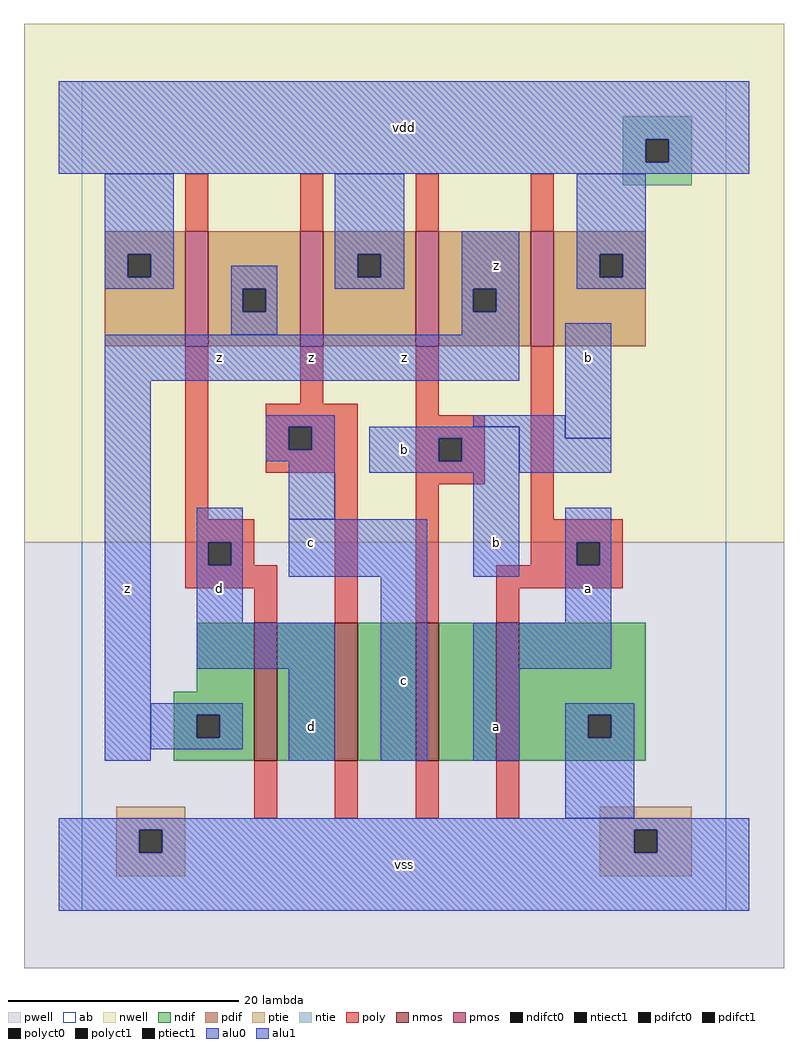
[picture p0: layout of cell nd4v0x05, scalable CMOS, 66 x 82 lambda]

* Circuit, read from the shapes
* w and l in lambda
.subckt nd4v0x05 a b c d vdd vss z
M1 n1 d z vss nfet w=12 l=2
M2 n2 c n1 vss nfet w=12 l=2
M3 n3 b n2 vss nfet w=12 l=2
M4 vss a n3 vss nfet w=12 l=2
M5 z d vdd vdd pfet w=10 l=2
M6 vdd c z vdd pfet w=10 l=2
M7 z b vdd vdd pfet w=10 l=2
M8 vdd a z vdd pfet w=10 l=2
.ends

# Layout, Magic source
magic
tech scmos
<< ab >>
rect 0 0 56 72
<< nwell >>
rect -5 32 61 77
<< pwell >>
rect -5 -5 61 32
<< poly >>
rect 9 59 11 64
rect 19 59 21 64
rect 29 59 31 64
rect 39 59 41 64
rect 9 34 11 49
rect 19 44 21 49
rect 16 42 24 44
rect 16 40 18 42
rect 20 40 24 42
rect 16 38 24 40
rect 9 32 15 34
rect 9 30 11 32
rect 13 30 15 32
rect 9 28 17 30
rect 15 25 17 28
rect 22 25 24 38
rect 29 43 31 49
rect 29 41 35 43
rect 29 39 31 41
rect 33 39 35 41
rect 29 37 35 39
rect 29 25 31 37
rect 39 34 41 49
rect 39 32 47 34
rect 39 30 43 32
rect 45 30 47 32
rect 36 28 47 30
rect 36 25 38 28
rect 15 8 17 13
rect 22 8 24 13
rect 29 8 31 13
rect 36 8 38 13
<< ndif >>
rect 10 19 15 25
rect 8 17 15 19
rect 8 15 10 17
rect 12 15 15 17
rect 8 13 15 15
rect 17 13 22 25
rect 24 13 29 25
rect 31 13 36 25
rect 38 17 49 25
rect 38 15 44 17
rect 46 15 49 17
rect 38 13 49 15
<< pdif >>
rect 2 57 9 59
rect 2 55 4 57
rect 6 55 9 57
rect 2 49 9 55
rect 11 54 19 59
rect 11 52 14 54
rect 16 52 19 54
rect 11 49 19 52
rect 21 57 29 59
rect 21 55 24 57
rect 26 55 29 57
rect 21 49 29 55
rect 31 54 39 59
rect 31 52 34 54
rect 36 52 39 54
rect 31 49 39 52
rect 41 57 49 59
rect 41 55 45 57
rect 47 55 49 57
rect 41 49 49 55
<< alu1 >>
rect -2 67 58 72
rect -2 65 49 67
rect 51 65 58 67
rect -2 64 58 65
rect 33 54 38 59
rect 33 52 34 54
rect 36 52 38 54
rect 33 50 38 52
rect 2 46 38 50
rect 2 13 6 46
rect 10 32 14 35
rect 10 30 11 32
rect 13 30 14 32
rect 10 25 14 30
rect 25 41 38 42
rect 42 41 46 51
rect 25 39 31 41
rect 33 39 38 41
rect 25 38 38 39
rect 18 29 30 34
rect 34 29 38 38
rect 42 32 46 35
rect 42 30 43 32
rect 45 30 46 32
rect 10 21 22 25
rect 18 13 22 21
rect 26 13 30 29
rect 42 25 46 30
rect 34 21 46 25
rect 34 13 38 21
rect -2 7 58 8
rect -2 5 5 7
rect 7 5 48 7
rect 50 5 58 7
rect -2 0 58 5
<< ptie >>
rect 3 7 9 9
rect 3 5 5 7
rect 7 5 9 7
rect 3 3 9 5
rect 45 7 53 9
rect 45 5 48 7
rect 50 5 53 7
rect 45 3 53 5
<< ntie >>
rect 47 67 53 69
rect 47 65 49 67
rect 51 65 53 67
rect 47 63 53 65
<< nmos >>
rect 15 13 17 25
rect 22 13 24 25
rect 29 13 31 25
rect 36 13 38 25
<< pmos >>
rect 9 49 11 59
rect 19 49 21 59
rect 29 49 31 59
rect 39 49 41 59
<< polyct0 >>
rect 18 40 20 42
<< polyct1 >>
rect 11 30 13 32
rect 31 39 33 41
rect 43 30 45 32
<< ndifct0 >>
rect 10 15 12 17
rect 44 15 46 17
<< ntiect1 >>
rect 49 65 51 67
<< ptiect1 >>
rect 5 5 7 7
rect 48 5 50 7
<< pdifct0 >>
rect 4 55 6 57
rect 14 52 16 54
rect 24 55 26 57
rect 45 55 47 57
<< pdifct1 >>
rect 34 52 36 54
<< alu0 >>
rect 2 57 8 64
rect 2 55 4 57
rect 6 55 8 57
rect 22 57 28 64
rect 2 54 8 55
rect 13 54 17 56
rect 22 55 24 57
rect 26 55 28 57
rect 22 54 28 55
rect 43 57 49 64
rect 43 55 45 57
rect 47 55 49 57
rect 43 54 49 55
rect 13 52 14 54
rect 16 52 17 54
rect 13 50 17 52
rect 16 42 22 43
rect 34 42 42 43
rect 16 40 18 42
rect 20 40 22 42
rect 16 39 22 40
rect 18 34 22 39
rect 38 41 42 42
rect 38 38 46 41
rect 6 17 14 18
rect 6 15 10 17
rect 12 15 14 17
rect 6 14 14 15
rect 42 17 48 18
rect 42 15 44 17
rect 46 15 48 17
rect 42 8 48 15
<< labels >>
rlabel alu1 4 28 4 28 6 z
rlabel alu1 20 16 20 16 6 d
rlabel alu1 12 28 12 28 6 d
rlabel alu1 20 32 20 32 6 c
rlabel alu1 12 48 12 48 6 z
rlabel alu1 20 48 20 48 6 z
rlabel alu1 28 4 28 4 6 vss
rlabel alu1 36 16 36 16 6 a
rlabel alu1 28 20 28 20 6 c
rlabel alu1 36 32 36 32 6 b
rlabel alu1 28 40 28 40 6 b
rlabel alu1 28 48 28 48 6 z
rlabel alu1 36 56 36 56 6 z
rlabel alu1 28 68 28 68 6 vdd
rlabel alu1 44 28 44 28 6 a
rlabel alu1 44 48 44 48 6 b
<< end >>
